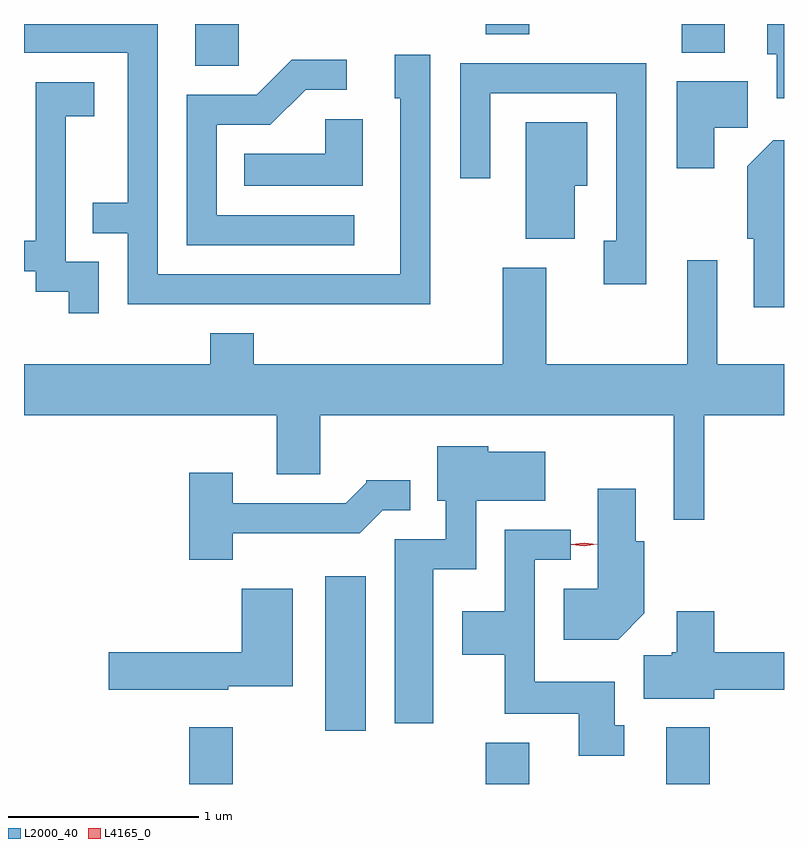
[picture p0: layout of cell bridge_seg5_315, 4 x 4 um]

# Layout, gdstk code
import gdstk
lib = gdstk.Library(unit=1e-6, precision=1e-09)
def R(c, l, rs):  # rectangles x0, y0, x1, y1
    for r in rs: c.add(gdstk.rectangle(r[:2], r[2:], *l))
def P(c, l, *ps):  # polygons
    for p in ps: c.add(gdstk.Polygon(p, *l))
L2000_40 = (2000, 40)
L4165_0 = (4165, 0)

bridge_seg5_315 = lib.new_cell('bridge_seg5_315')
R(bridge_seg5_315, L2000_40, [(706.311,1414.896,706.539,1415.194), (707.871,1414.896,708.099,1415.114), (708.821,1414.896,709.049,1415.194), (707.026,1415.176,707.239,1415.989), (706.341,1418.676,706.569,1418.896), (708.901,1418.746,709.129,1418.896), (707.871,1418.841,708.099,1418.896)])
P(bridge_seg5_315, L2000_40, [(707.579,1418.734),(707.391,1418.734),(707.391,1418.506),(707.421,1418.506),(707.421,1417.579),(706.144,1417.579),(706.144,1418.896),(705.44,1418.896),(705.44,1418.746),(705.986,1418.746),(705.986,1417.954),(705.803,1417.954),(705.803,1417.796),(705.986,1417.796),(705.986,1417.421),(707.579,1417.421)],
  [(709.44,1418.894),(709.353,1418.894),(709.353,1418.736),(709.401,1418.736),(709.401,1418.506),(709.44,1418.506)],
  [(707.178,1417.889),(706.454,1417.889),(706.454,1418.366),(706.737,1418.366),(706.922,1418.551),(707.138,1418.551),(707.138,1418.709),(706.849,1418.709),(706.664,1418.524),(706.296,1418.524),(706.296,1417.731),(707.178,1417.731)],
  [(708.714,1418.689),(707.736,1418.689),(707.736,1418.083),(707.894,1418.083),(707.894,1418.531),(708.556,1418.531),(708.556,1417.754),(708.491,1417.754),(708.491,1417.526),(708.714,1417.526)],
  [(709.074,1418.351),(709.249,1418.351),(709.249,1418.594),(708.876,1418.594),(708.876,1418.136),(709.074,1418.136)],
  [(705.834,1417.644),(705.659,1417.644),(705.659,1418.411),(705.809,1418.411),(705.809,1418.589),(705.501,1418.589),(705.501,1417.754),(705.44,1417.754),(705.44,1417.596),(705.501,1417.596),(705.501,1417.486),(705.676,1417.486),(705.676,1417.373),(705.834,1417.373)],
  [(707.224,1418.394),(707.026,1418.394),(707.026,1418.214),(706.598,1418.214),(706.598,1418.046),(707.224,1418.046)],
  [(708.339,1418.046),(708.404,1418.046),(708.404,1418.379),(708.081,1418.379),(708.081,1417.766),(708.339,1417.766)],
  [(709.44,1418.284),(709.384,1418.284),(709.246,1418.147),(709.246,1417.766),(709.281,1417.766),(709.281,1417.406),(709.44,1417.406)],
  [(709.019,1416.836),(709.44,1416.836),(709.44,1417.104),(709.089,1417.104),(709.089,1417.653),(708.931,1417.653),(708.931,1417.104),(708.189,1417.104),(708.189,1417.614),(707.961,1417.614),(707.961,1417.104),(706.649,1417.104),(706.649,1417.269),(706.421,1417.269),(706.421,1417.104),(705.44,1417.104),(705.44,1416.836),(706.771,1416.836),(706.771,1416.526),(706.999,1416.526),(706.999,1416.836),(708.861,1416.836),(708.861,1416.288),(709.019,1416.288)],
  [(707.594,1416.026),(707.819,1416.026),(707.819,1416.386),(708.184,1416.386),(708.184,1416.644),(707.884,1416.644),(707.884,1416.674),(707.616,1416.674),(707.616,1416.386),(707.661,1416.386),(707.661,1416.184),(707.391,1416.184),(707.391,1415.216),(707.594,1415.216)],
  [(706.539,1416.216),(707.207,1416.216),(707.327,1416.336),(707.473,1416.336),(707.473,1416.494),(707.24,1416.494),(707.24,1416.481),(707.134,1416.374),(706.539,1416.374),(706.539,1416.534),(706.311,1416.534),(706.311,1416.076),(706.539,1416.076)],
  [(708.704,1415.794),(708.704,1416.174),(708.659,1416.174),(708.659,1416.449),(708.461,1416.449),(708.461,1415.924),(708.281,1415.924),(708.281,1415.656),(708.567,1415.656)],
  [(708.598,1415.204),(708.549,1415.204),(708.549,1415.434),(708.129,1415.434),(708.129,1416.076),(708.318,1416.076),(708.318,1416.234),(707.971,1416.234),(707.971,1415.804),(707.746,1415.804),(707.746,1415.576),(707.971,1415.576),(707.971,1415.266),(708.361,1415.266),(708.361,1415.046),(708.598,1415.046)],
  [(706.514,1415.411),(706.854,1415.411),(706.854,1415.924),(706.586,1415.924),(706.586,1415.589),(705.886,1415.589),(705.886,1415.391),(706.514,1415.391)],
  [(709.074,1415.391),(709.44,1415.391),(709.44,1415.589),(709.074,1415.589),(709.074,1415.804),(708.876,1415.804),(708.876,1415.589),(708.85,1415.589),(708.85,1415.574),(708.701,1415.574),(708.701,1415.346),(709.074,1415.346)])
P(bridge_seg5_315, L4165_0, [(708.388,1416.147),(708.319,1416.156),(708.318,1416.157),(708.319,1416.157),(708.388,1416.167),(708.457,1416.158),(708.457,1416.157),(708.457,1416.157)])

lib.write_gds('bridge_seg5_315.gds')
